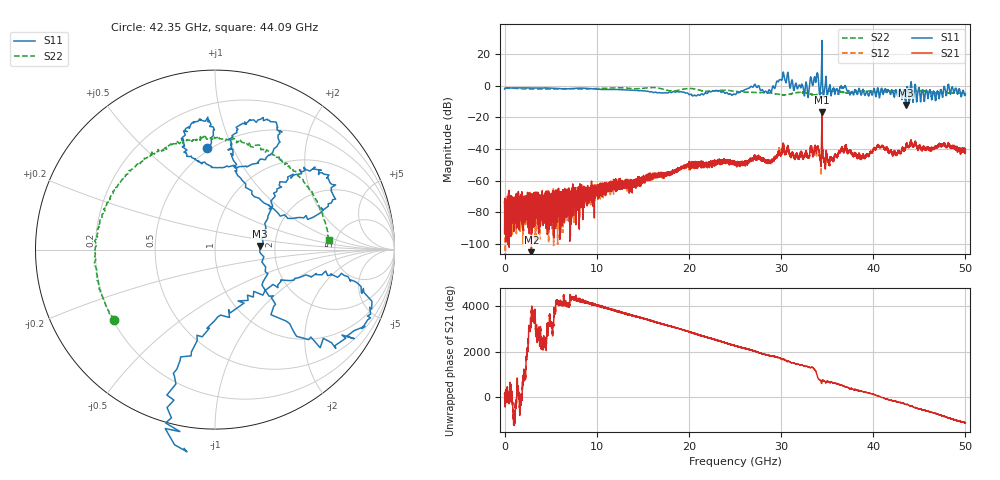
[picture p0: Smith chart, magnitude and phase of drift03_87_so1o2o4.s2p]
!Created with skrf (http://scikit-rf.org).
# Hz S RI R 50.0
!freq ReS11 ImS11 ReS21 ImS21 ReS12 ImS12 ReS22 ImS22
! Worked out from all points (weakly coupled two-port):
!   10000 points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, 5.3 MHz to 50 GHz, reference 50 ohm
!   highest |S21| = -16.76 dB at 34.43 GHz (marker M1); lowest = -105.3 dB at 2.91 GHz (marker M2)
!   lowest |S11| = -12.0 dB at 43.52 GHz (marker M3), VSWR 1.67, Z = 83.1 + j3.46 ohm
!   |S11| at or under -10 dB: 43.48452 GHz to 43.54297 GHz (58.45 MHz wide, 0.134 % of centre); 43.90917 GHz to 43.91097 GHz (1.799 MHz wide, 0.0041 % of centre); 43.91951 GHz to 43.92054 GHz (1.031 MHz wide, 0.00235 % of centre) (the widest 3 of 8)
!   |S22| runs from -5.8 to -1.1 dB; largest |S21 - S12| = 0.041
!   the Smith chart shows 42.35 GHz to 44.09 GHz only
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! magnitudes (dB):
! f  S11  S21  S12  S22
! 5.3 MHz  -2.1  -93.5  -72.4  -1.3
! 2.91 GHz  -1.4  -105.3  -73.6  -2.0
! 8.34 GHz  -1.5  -66.4  -68.8  -2.1
! 16.67 GHz  -4.4  -55.6  -57.3  -1.5
! 20.31 GHz  -5.7  -49.3  -49.5  -1.8
! 25.01 GHz  -5.5  -49.8  -49.8  -3.5
! 27.02 GHz  -0.3  -45.5  -45.7  -4.2
! 28.72 GHz  -2.5  -48.5  -47.8  -4.5
! 30.14 GHz  4.4  -40.8  -40.1  -5.7
! 32.74 GHz  2.0  -42.1  -42.0  -4.6
! 33.34 GHz  2.6  -40.1  -40.5  -5.6
! 33.82 GHz  4.0  -41.5  -42.5  -5.7
! 34.43 GHz  28.6  -16.8  -18.7  -4.6
! 35.29 GHz  0.6  -48.7  -47.5  -3.3
! 36.85 GHz  -0.8  -42.2  -41.5  -4.3
! 38.87 GHz  -2.3  -43.9  -43.9  -3.2
! 40.59 GHz  -4.1  -37.7  -38.1  -4.0
! 41.67 GHz  -2.9  -41.6  -41.9  -3.3
! 42.69 GHz  -6.8  -42.3  -41.3  -3.5
! 43.52 GHz  -12.0  -38.5  -38.8  -4.0
! 47.53 GHz  -7.1  -37.9  -37.6  -4.6
! 50 GHz  -5.2  -41.8  -41.5  -4.5
